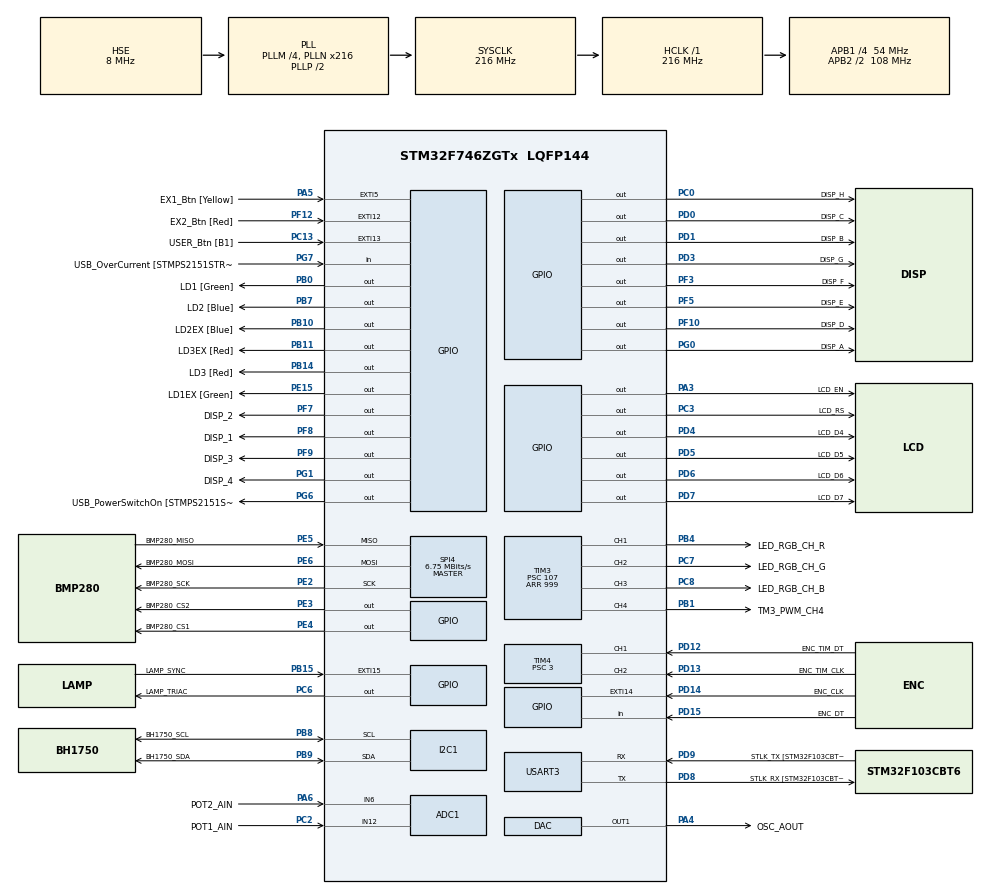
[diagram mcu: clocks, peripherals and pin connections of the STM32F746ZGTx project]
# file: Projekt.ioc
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ADC1.Channel-0\#ChannelRegularConversion=ADC_CHANNEL_12
ADC1.Channel-1\#ChannelRegularConversion=ADC_CHANNEL_6
ADC1.ClockPrescaler=ADC_CLOCK_SYNC_PCLK_DIV8
ADC1.ContinuousConvMode=DISABLE
ADC1.DMAContinuousRequests=ENABLE
ADC1.EOCSelection=ADC_EOC_SEQ_CONV
ADC1.InjNumberOfConversion=0
ADC1.NbrOfConversion=2
ADC1.NbrOfConversionFlag=1
ADC1.Rank-0\#ChannelRegularConversion=1
ADC1.Rank-1\#ChannelRegularConversion=2
ADC1.SamplingTime-0\#ChannelRegularConversion=ADC_SAMPLETIME_480CYCLES
ADC1.SamplingTime-1\#ChannelRegularConversion=ADC_SAMPLETIME_480CYCLES
ADC1.master=1
ARM.CMSIS.5.7.0.CMSISJjCORE=true
ARM.CMSIS.5.7.0.CMSISJjDSP=Library
DAC.DAC_Trigger=DAC_TRIGGER_NONE
Dma.ADC1.0.Direction=DMA_PERIPH_TO_MEMORY
Dma.ADC1.0.FIFOMode=DMA_FIFOMODE_DISABLE
Dma.ADC1.0.Instance=DMA2_Stream0
Dma.ADC1.0.MemDataAlignment=DMA_MDATAALIGN_HALFWORD
Dma.ADC1.0.MemInc=DMA_MINC_ENABLE
Dma.ADC1.0.Mode=DMA_CIRCULAR
Dma.ADC1.0.PeriphDataAlignment=DMA_PDATAALIGN_HALFWORD
Dma.ADC1.0.PeriphInc=DMA_PINC_DISABLE
Dma.ADC1.0.Priority=DMA_PRIORITY_LOW
Dma.DAC1.1.Direction=DMA_MEMORY_TO_PERIPH
Dma.DAC1.1.FIFOMode=DMA_FIFOMODE_DISABLE
Dma.DAC1.1.Instance=DMA1_Stream5
Dma.DAC1.1.MemDataAlignment=DMA_MDATAALIGN_HALFWORD
Dma.DAC1.1.MemInc=DMA_MINC_ENABLE
Dma.DAC1.1.Mode=DMA_CIRCULAR
Dma.DAC1.1.PeriphDataAlignment=DMA_PDATAALIGN_HALFWORD
Dma.DAC1.1.PeriphInc=DMA_PINC_DISABLE
Dma.DAC1.1.Priority=DMA_PRIORITY_HIGH
Dma.Request0=ADC1
Dma.Request1=DAC1
I2C1.Timing=0x20404768
Mcu.Family=STM32F7
Mcu.Name=STM32F746ZGTx
Mcu.Package=LQFP144
NVIC.DMA1_Stream5_IRQn=true\:0\:0\:false\:false\:true\:false\:true
NVIC.DMA2_Stream0_IRQn=true\:0\:0\:false\:false\:true\:false\:true
NVIC.EXTI15_10_IRQn=true\:0\:0\:false\:false\:true\:true\:true
NVIC.EXTI9_5_IRQn=true\:0\:0\:false\:false\:true\:true\:true
NVIC.PriorityGroup=NVIC_PRIORITYGROUP_4
NVIC.TIM2_IRQn=true\:0\:0\:false\:false\:true\:true\:true
NVIC.TIM6_DAC_IRQn=true\:0\:0\:false\:false\:true\:true\:true
NVIC.TIM7_IRQn=true\:0\:0\:false\:false\:true\:true\:true
NVIC.USART3_IRQn=true\:0\:0\:false\:false\:true\:true\:true
PA1.GPIO_Label=RMII_REF_CLK [LAN8742A-CZ-TR_REFCLK0]
PA1.Signal=ETH_REF_CLK
PA10.GPIO_Label=USB_ID
PA10.Signal=USB_OTG_FS_ID
PA11.GPIO_Label=USB_DM
PA11.Signal=USB_OTG_FS_DM
PA12.GPIO_Label=USB_DP
PA12.Signal=USB_OTG_FS_DP
PA13.GPIO_Label=TMS
PA13.Mode=Serial_Wire
PA13.Signal=SYS_JTMS-SWDIO
PA14.GPIO_Label=TCK
PA14.Mode=Serial_Wire
PA14.Signal=SYS_JTCK-SWCLK
PA2.GPIO_Label=RMII_MDIO [LAN8742A-CZ-TR_MDIO]
PA2.Signal=ETH_MDIO
PA3.GPIO_Label=LCD_EN
PA3.Signal=GPIO_Output
PA4.GPIO_Label=OSC_AOUT
PA4.Signal=COMP_DAC1_group
PA5.GPIO_Label=EX1_Btn [Yellow]
PA5.GPIO_ModeDefaultEXTI=GPIO_MODE_IT_FALLING
PA5.Signal=GPXTI5
PA6.GPIO_Label=POT2_AIN
PA6.Signal=ADCx_IN6
PA8.GPIO_Label=USB_SOF [TP1]
PA8.Signal=USB_OTG_FS_SOF
PA9.GPIO_Label=USB_VBUS
PA9.Signal=USB_OTG_FS_VBUS
PB0.GPIO_Label=LD1 [Green]
PB0.Signal=GPIO_Output
PB1.GPIO_Label=TM3_PWM_CH4
PB1.Signal=S_TIM3_CH4
PB10.GPIO_Label=LD2EX [Blue]
PB10.Signal=GPIO_Output
PB11.GPIO_Label=LD3EX [Red]
PB11.Signal=GPIO_Output
PB13.GPIO_Label=RMII_TXD1 [LAN8742A-CZ-TR_TXD1]
PB13.Signal=ETH_TXD1
PB14.GPIO_Label=LD3 [Red]
PB14.Signal=GPIO_Output
PB15.GPIO_Label=LAMP_SYNC
PB15.Signal=GPXTI15
PB3.GPIO_Label=SW0
PB3.Signal=SYS_JTDO-SWO
PB4.GPIO_Label=LED_RGB_CH_R
PB4.Signal=S_TIM3_CH1
PB7.GPIO_Label=LD2 [Blue]
PB7.Signal=GPIO_Output
PB8.GPIO_Label=BH1750_SCL
PB8.Mode=I2C
PB8.Signal=I2C1_SCL
PB9.GPIO_Label=BH1750_SDA
PB9.Mode=I2C
PB9.Signal=I2C1_SDA
PC0.GPIO_Label=DISP_H
PC0.GPIO_ModeDefaultOutputPP=GPIO_MODE_OUTPUT_OD
PC0.GPIO_PuPd=GPIO_PULLUP
PC0.Signal=GPIO_Output
PC1.GPIO_Label=RMII_MDC [LAN8742A-CZ-TR_MDC]
PC1.Signal=ETH_MDC
PC13.GPIO_Label=USER_Btn [B1]
PC13.Signal=GPXTI13
PC14/OSC32_IN.Mode=LSE-External-Oscillator
PC14/OSC32_IN.Signal=RCC_OSC32_IN
PC15/OSC32_OUT.Mode=LSE-External-Oscillator
PC15/OSC32_OUT.Signal=RCC_OSC32_OUT
PC2.GPIO_Label=POT1_AIN
PC2.Signal=ADCx_IN12
PC3.GPIO_Label=LCD_RS
PC3.Signal=GPIO_Output
PC4.GPIO_Label=RMII_RXD0 [LAN8742A-CZ-TR_RXD0]
PC4.Signal=ETH_RXD0
PC5.GPIO_Label=RMII_RXD1 [LAN8742A-CZ-TR_RXD1]
PC5.Signal=ETH_RXD1
PC6.GPIO_Label=LAMP_TRIAC
PC6.GPIO_Speed=GPIO_SPEED_FREQ_HIGH
PC6.Signal=GPIO_Output
PC7.GPIO_Label=LED_RGB_CH_G
PC7.Signal=S_TIM3_CH2
PC8.GPIO_Label=LED_RGB_CH_B
PC8.Signal=S_TIM3_CH3
PD0.GPIO_Label=DISP_C
PD0.GPIO_ModeDefaultOutputPP=GPIO_MODE_OUTPUT_OD
PD0.GPIO_PuPd=GPIO_PULLUP
PD0.Signal=GPIO_Output
PD1.GPIO_Label=DISP_B
PD1.GPIO_ModeDefaultOutputPP=GPIO_MODE_OUTPUT_OD
PD1.GPIO_PuPd=GPIO_PULLUP
PD1.Signal=GPIO_Output
PD12.GPIO_Label=ENC_TIM_DT
PD12.Signal=S_TIM4_CH1
PD13.GPIO_Label=ENC_TIM_CLK
PD13.Signal=S_TIM4_CH2
PD14.GPIO_Label=ENC_CLK
PD14.GPIO_ModeDefaultEXTI=GPIO_MODE_IT_FALLING
PD14.Signal=GPXTI14
PD15.GPIO_Label=ENC_DT
PD15.Signal=GPIO_Input
PD3.GPIO_Label=DISP_G
PD3.GPIO_ModeDefaultOutputPP=GPIO_MODE_OUTPUT_OD
PD3.GPIO_PuPd=GPIO_PULLUP
PD3.Signal=GPIO_Output
PD4.GPIO_Label=LCD_D4
PD4.Signal=GPIO_Output
PD5.GPIO_Label=LCD_D5
PD5.Signal=GPIO_Output
PD6.GPIO_Label=LCD_D6
PD6.Signal=GPIO_Output
PD7.GPIO_Label=LCD_D7
PD7.Signal=GPIO_Output
PD8.GPIO_Label=STLK_RX [STM32F103CBT6_PA3]
PD8.Mode=Asynchronous
PD8.Signal=USART3_TX
PD9.GPIO_Label=STLK_TX [STM32F103CBT6_PA2]
PD9.Mode=Asynchronous
PD9.Signal=USART3_RX
PE15.GPIO_Label=LD1EX [Green]
PE15.Signal=GPIO_Output
PE2.GPIO_Label=BMP280_SCK
PE2.Mode=Full_Duplex_Master
PE2.Signal=SPI4_SCK
PE3.GPIO_Label=BMP280_CS2
PE3.GPIO_Speed=GPIO_SPEED_FREQ_VERY_HIGH
PE3.PinState=GPIO_PIN_SET
PE3.Signal=GPIO_Output
PE4.GPIO_Label=BMP280_CS1
PE4.GPIO_Speed=GPIO_SPEED_FREQ_VERY_HIGH
PE4.PinState=GPIO_PIN_SET
PE4.Signal=GPIO_Output
PE5.GPIO_Label=BMP280_MISO
PE5.Mode=Full_Duplex_Master
PE5.Signal=SPI4_MISO
PE6.GPIO_Label=BMP280_MOSI
PE6.Mode=Full_Duplex_Master
PE6.Signal=SPI4_MOSI
PF10.GPIO_Label=DISP_D
PF10.GPIO_ModeDefaultOutputPP=GPIO_MODE_OUTPUT_OD
PF10.GPIO_PuPd=GPIO_PULLUP
PF10.Signal=GPIO_Output
PF12.GPIO_Label=EX2_Btn [Red]
PF12.Signal=GPXTI12
PF3.GPIO_Label=DISP_F
PF3.GPIO_ModeDefaultOutputPP=GPIO_MODE_OUTPUT_OD
PF3.GPIO_PuPd=GPIO_PULLUP
PF3.Signal=GPIO_Output
PF5.GPIO_Label=DISP_E
PF5.GPIO_ModeDefaultOutputPP=GPIO_MODE_OUTPUT_OD
PF5.GPIO_PuPd=GPIO_PULLUP
PF5.Signal=GPIO_Output
PF7.GPIO_Label=DISP_2
PF7.Signal=GPIO_Output
PF8.GPIO_Label=DISP_1
PF8.Signal=GPIO_Output
PF9.GPIO_Label=DISP_3
PF9.Signal=GPIO_Output
PG0.GPIO_Label=DISP_A
PG0.GPIO_ModeDefaultOutputPP=GPIO_MODE_OUTPUT_OD
PG0.GPIO_PuPd=GPIO_PULLUP
PG0.Signal=GPIO_Output
PG1.GPIO_Label=DISP_4
PG1.Signal=GPIO_Output
PG11.GPIO_Label=RMII_TX_EN [LAN8742A-CZ-TR_TXEN]
PG11.Signal=ETH_TX_EN
PG13.GPIO_Label=RMII_TXD0 [LAN8742A-CZ-TR_TXD0]
PG13.Signal=ETH_TXD0
PG6.GPIO_Label=USB_PowerSwitchOn [STMPS2151STR_EN]
PG6.Signal=GPIO_Output
PG7.GPIO_Label=USB_OverCurrent [STMPS2151STR_FAULT]
PG7.Signal=GPIO_Input
PH0/OSC_IN.GPIO_Label=MCO [STM32F103CBT6_PA8]
PH0/OSC_IN.Mode=HSE-External-Clock-Source
PH0/OSC_IN.Signal=RCC_OSC_IN
PH1/OSC_OUT.Mode=HSE-External-Clock-Source
PH1/OSC_OUT.Signal=RCC_OSC_OUT
ProjectManager.HeapSize=0x200
ProjectManager.StackSize=0x400
ProjectManager.TargetToolchain=STM32CubeIDE
RCC.48MHZClocksFreq_Value=24000000
RCC.AHBFreq_Value=216000000
RCC.APB1CLKDivider=RCC_HCLK_DIV4
RCC.APB1Freq_Value=54000000
RCC.APB1TimFreq_Value=108000000
RCC.APB2CLKDivider=RCC_HCLK_DIV2
RCC.APB2Freq_Value=108000000
RCC.APB2TimFreq_Value=216000000
RCC.CortexFreq_Value=216000000
RCC.HCLKFreq_Value=216000000
RCC.HSE_VALUE=8000000
RCC.HSI_VALUE=16000000
RCC.PLLM=4
RCC.PLLMUL=RCC_PLL_MUL9
RCC.PLLN=216
RCC.PLLQ=3
RCC.PLLSourceVirtual=RCC_PLLSOURCE_HSE
RCC.PRESCALERUSB=RCC_USBCLKSOURCE_PLL_DIV1_5
RCC.SYSCLKFreq_VALUE=216000000
RCC.SYSCLKSource=RCC_SYSCLKSOURCE_PLLCLK
RCC.SYSCLKSourceVirtual=RCC_SYSCLKSOURCE_PLLCLK
RCC.USBFreq_Value=144000000
RCC.VCOOutputFreq_Value=432000000
SH.ADCx_IN12.0=ADC1_IN12,IN12
SH.ADCx_IN6.0=ADC1_IN6,IN6
SH.COMP_DAC1_group.0=DAC_OUT1,DAC_OUT1
SH.S_TIM3_CH1.0=TIM3_CH1,PWM Generation1 CH1
SH.S_TIM3_CH2.0=TIM3_CH2,PWM Generation2 CH2
SH.S_TIM3_CH3.0=TIM3_CH3,PWM Generation3 CH3
SH.S_TIM3_CH4.0=TIM3_CH4,PWM Generation4 CH4
SH.S_TIM4_CH1.0=TIM4_CH1,Encoder_Interface
SH.S_TIM4_CH2.0=TIM4_CH2,Encoder_Interface
SPI4.BaudRatePrescaler=SPI_BAUDRATEPRESCALER_16
SPI4.CLKPhase=SPI_PHASE_2EDGE
SPI4.CLKPolarity=SPI_POLARITY_HIGH
SPI4.CalculateBaudRate=6.75 MBits/s
SPI4.DataSize=SPI_DATASIZE_8BIT
SPI4.Direction=SPI_DIRECTION_2LINES
SPI4.Mode=SPI_MODE_MASTER
SPI4.VirtualType=VM_MASTER
TIM2.Period=4999
TIM2.Prescaler=107
TIM3.Channel-PWM\ Generation1\ CH1=TIM_CHANNEL_1
TIM3.Channel-PWM\ Generation2\ CH2=TIM_CHANNEL_2
TIM3.Channel-PWM\ Generation3\ CH3=TIM_CHANNEL_3
TIM3.Channel-PWM\ Generation4\ CH4=TIM_CHANNEL_4
TIM3.Period=999
TIM3.Prescaler=107
TIM3.Pulse-PWM\ Generation2\ CH2=0
TIM3.Pulse-PWM\ Generation3\ CH3=0
TIM4.EncoderMode=TIM_ENCODERMODE_TI12
TIM4.IC1Polarity=TIM_ICPOLARITY_FALLING
TIM4.IC2Polarity=TIM_ICPOLARITY_FALLING
TIM4.Period=100
TIM4.Prescaler=3
TIM6.Period=999
TIM6.Prescaler=107
TIM6.TIM_MasterOutputTrigger=TIM_TRGO_UPDATE
TIM7.Period=999
TIM7.Prescaler=107
USART3.VirtualMode-Asynchronous=VM_ASYNC
VP_ARM.CMSIS_VS_CMSISJjCORE_5.4.0_5.7.0.Mode=CMSISJjCORE
VP_ARM.CMSIS_VS_CMSISJjDSP_1.8.0_5.7.0.Mode=CMSISJjDSP
VP_TIM2_VS_ClockSourceINT.Mode=Internal
VP_TIM2_VS_OPM.Mode=OPM_bit
VP_TIM3_VS_ClockSourceINT.Mode=Internal
VP_TIM6_VS_ClockSourceINT.Mode=Enable_Timer
VP_TIM7_VS_ClockSourceINT.Mode=Enable_Timer
board=NUCLEO-F746ZG

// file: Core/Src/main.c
/* USER CODE BEGIN Header */
/**
  ******************************************************************************
  * @file           : main.c
  * @brief          : Main program body
  ******************************************************************************
  * @attention
  *
  * <h2><center>&copy; Copyright (c) 2020 STMicroelectronics.
  * All rights reserved.</center></h2>
  *
  * This software component is licensed by ST under BSD 3-Clause license,
  * the "License"; You may not use this file except in compliance with the
  * License. You may obtain a copy of the License at:
  *                        opensource.org/licenses/BSD-3-Clause
  *
  ******************************************************************************
  */
/* USER CODE END Header */
#include "main.h"
#include "adc.h"
#include "dac.h"
#include "dma.h"
#include "i2c.h"
#include "spi.h"
#include "tim.h"
#include "usart.h"
#include "gpio.h"

/* USER CODE BEGIN Includes */
#include "bmp280.h"
#include "bmp280_defs.h"
#include "arm_math.h"
/* USER CODE END Includes */

/* USER CODE BEGIN PTD */
#define BMP280_SPI (&hspi4)

#define BMP280_CS1 1
#define BMP280_CS2 2
/* USER CODE END PTD */

/* USER CODE BEGIN PV */
char  rx_buffer [2];
float duty = 0; // Wypelnienie PWM
float inc = 20; //temperatura zadana

float K_P_CMSIS = 125; //400;
float K_I_CMSIS = 0.25; //0.5;
float K_D_CMSIS = 10; //20;
float pid_error;
float pid_error_abs;

/* USER CODE END PV */

void SystemClock_Config(void);
/* USER CODE BEGIN PFP */
int8_t bmp280_spi_reg_write (uint8_t cs, uint8_t reg_addr, uint8_t *reg_data, uint16_t length);
int8_t bmp280_spi_reg_read (uint8_t cs, uint8_t reg_addr, uint8_t *reg_data, uint16_t length);
/* USER CODE END PFP */

/* USER CODE BEGIN 0 */

void  HAL_UART_RxCpltCallback(UART_HandleTypeDef  *huart)
{
	HAL_UART_Receive_IT   (&huart3  , (uint8_t*) rx_buffer  , 2); //Zadawanie wypełnienia  PWM do tranzystora [0 3.3V]

	if (huart->Instance == USART3)
	{
		inc = (((float)rx_buffer [0] - 48)*10 +   ((float)rx_buffer [1] - 48));  //-48

	}
}

/* USER CODE END 0 */

int main(void)
{
  /* USER CODE BEGIN 1 */
struct bmp280_dev bmp280_1 = {
		.dev_id = BMP280_CS1,
		.intf = BMP280_SPI_INTF,
		.read = bmp280_spi_reg_read, .write = bmp280_spi_reg_write,
		.delay_ms = HAL_Delay
};

struct bmp280_uncomp_data bmp280_1_data;

int32_t temp32;
double temp;
  /* USER CODE END 1 */

  /* MCU Configuration--------------------------------------------------------*/

  /* Reset of all peripherals, Initializes the Flash interface and the Systick. */
  HAL_Init();

  /* Configure the system clock */
  SystemClock_Config();

  /* Initialize all configured peripherals */
  MX_GPIO_Init();
  MX_DMA_Init();
  MX_USART3_UART_Init();
  MX_TIM2_Init();
  MX_TIM3_Init();
  MX_TIM4_Init();
  MX_I2C1_Init();
  MX_SPI4_Init();
  MX_ADC1_Init();
  MX_DAC_Init();
  MX_TIM6_Init();
  MX_TIM7_Init();
  /* USER CODE BEGIN 2 */

  HAL_UART_Receive_IT   (&huart3  , (uint8_t*) rx_buffer  , 2);

  HAL_StatusTypeDef tx_status = HAL_OK;

  HAL_TIM_Base_Init(&htim3); // Inicjalizacja timera 3 odpowiedzialnego za PWM

  //Initialize BMP280 sensor
  int8_t rslt;
  struct bmp280_config conf;

  rslt = bmp280_init(&bmp280_1);
  /* Always read the current settings before writing, especially when all the configuration is not modified */
  rslt = bmp280_get_config(&conf, &bmp280_1);
  conf.filter = BMP280_FILTER_OFF;
  /* Temperature oversampling set at 4x */
  conf.os_temp = BMP280_OS_1X;

  /* Setting the output data rate as 4HZ(250ms) */
  conf.odr = BMP280_ODR_1000_MS;

  rslt = bmp280_set_config(&conf, &bmp280_1);

  rslt = bmp280_set_power_mode(BMP280_NORMAL_MODE, &bmp280_1);

  char str[4];

 // HAL_TIM_Base_Start(&htim3);
  //__HAL_TIM_SET_AUTORELOAD  (&htim3  , 999);

  HAL_TIM_PWM_Start(&htim3, TIM_CHANNEL_4); // Start PWM

  arm_pid_instance_f32 PID;

  PID.Kp = K_P_CMSIS;
  PID.Ki = K_I_CMSIS;
  PID.Kd = K_D_CMSIS;

  arm_pid_init_f32(&PID, 1); //Inicjalizacja PID
  /* USER CODE END 2 */

  /* Infinite loop */
  /* USER CODE BEGIN WHILE */
  while (1)
  {
	  //Read BMP280 sensor
      /* Reading the raw data from sensor */
      rslt = bmp280_get_uncomp_data(&bmp280_1_data, &bmp280_1);

      /* Getting the 32 bit compensated temperature */
      rslt = bmp280_get_comp_temp_32bit(&temp32, bmp280_1_data.uncomp_temp, &bmp280_1);

      /* Getting the compensated temperature as floating point value */
      rslt = bmp280_get_comp_temp_double(&temp, bmp280_1_data.uncomp_temp, &bmp280_1);

      /* Sleep time between measurements = BMP280_ODR_250_MS */
       bmp280_1.delay_ms(1000);

       pid_error = inc - temp; //blad

       duty = arm_pid_f32(&PID, pid_error); //wypelnienie PWM

       if (duty > 1000)
       	   {
    	   	   duty = 1000;
           }
       else if (duty < 0)
       	   {
               duty = 0;
       	   }

	   __HAL_TIM_SET_COMPARE(&htim3,TIM_CHANNEL_4,duty); //zalacz grzalke

       sprintf(str, "%f", temp);

       tx_status = HAL_UART_Transmit(&huart3,(uint8_t*) str, 5, 100); // Wyslanie temperatury
      //HAL_Delay(1000); //czas odczytu

    /* USER CODE END WHILE */

  }
}

void SystemClock_Config(void)
{
  RCC_OscInitTypeDef RCC_OscInitStruct = {0};
  RCC_ClkInitTypeDef RCC_ClkInitStruct = {0};
  RCC_PeriphCLKInitTypeDef PeriphClkInitStruct = {0};

  /** Configure LSE Drive Capability
  */
  HAL_PWR_EnableBkUpAccess();
  /** Configure the main internal regulator output voltage
  */
  __HAL_RCC_PWR_CLK_ENABLE();
  __HAL_PWR_VOLTAGESCALING_CONFIG(PWR_REGULATOR_VOLTAGE_SCALE1);
  /** Initializes the RCC Oscillators according to the specified parameters
  * in the RCC_OscInitTypeDef structure.
  */
  RCC_OscInitStruct.OscillatorType = RCC_OSCILLATORTYPE_HSE;
  RCC_OscInitStruct.HSEState = RCC_HSE_BYPASS;
  RCC_OscInitStruct.PLL.PLLState = RCC_PLL_ON;
  RCC_OscInitStruct.PLL.PLLSource = RCC_PLLSOURCE_HSE;
  RCC_OscInitStruct.PLL.PLLM = 4;
  RCC_OscInitStruct.PLL.PLLN = 216;
  RCC_OscInitStruct.PLL.PLLP = RCC_PLLP_DIV2;
  RCC_OscInitStruct.PLL.PLLQ = 3;
  if (HAL_RCC_OscConfig(&RCC_OscInitStruct) != HAL_OK)
  {
    Error_Handler();
  }
  /** Activate the Over-Drive mode
  */
  if (HAL_PWREx_EnableOverDrive() != HAL_OK)
  {
    Error_Handler();
  }
  /** Initializes the CPU, AHB and APB buses clocks
  */
  RCC_ClkInitStruct.ClockType = RCC_CLOCKTYPE_HCLK|RCC_CLOCKTYPE_SYSCLK
                              |RCC_CLOCKTYPE_PCLK1|RCC_CLOCKTYPE_PCLK2;
  RCC_ClkInitStruct.SYSCLKSource = RCC_SYSCLKSOURCE_PLLCLK;
  RCC_ClkInitStruct.AHBCLKDivider = RCC_SYSCLK_DIV1;
  RCC_ClkInitStruct.APB1CLKDivider = RCC_HCLK_DIV4;
  RCC_ClkInitStruct.APB2CLKDivider = RCC_HCLK_DIV2;

  if (HAL_RCC_ClockConfig(&RCC_ClkInitStruct, FLASH_LATENCY_7) != HAL_OK)
  {
    Error_Handler();
  }
  PeriphClkInitStruct.PeriphClockSelection = RCC_PERIPHCLK_USART3|RCC_PERIPHCLK_I2C1;
  PeriphClkInitStruct.Usart3ClockSelection = RCC_USART3CLKSOURCE_PCLK1;
  PeriphClkInitStruct.I2c1ClockSelection = RCC_I2C1CLKSOURCE_PCLK1;
  if (HAL_RCCEx_PeriphCLKConfig(&PeriphClkInitStruct) != HAL_OK)
  {
    Error_Handler();
  }
}

/* USER CODE BEGIN 4 */
#define BMP280_SPI_BUFFER_LEN 28
#define BMP280_DATA_INDEX     1

/*!
 * @brief Function for writing the sensor 's registers through SPI bus.
 *
 * @param [in] cs : Chip select to enable the sensor .
 * @param [in] reg_addr : Register address .
 * @param [in] reg_data : Pointer to the data buffer whose data has to be written
 * @param [in] length : No of bytes to write .
 *
 * @return Status of execution
 * @retval 0 -> Success
 * @retval >0 -> Failure Info
 *
 */
 int8_t bmp280_spi_reg_write ( uint8_t cs , uint8_t reg_addr , uint8_t * reg_data , uint16_t length )
 {
 /* Implement the SPI write routine according to the target machine . */
 HAL_StatusTypeDef status = HAL_OK ;
 int32_t iError = BMP280_OK ;
 uint8_t txarray [ BMP280_SPI_BUFFER_LEN ];
 uint8_t stringpos ;

 /* Copy register address and data to tx buffer */
 txarray [0] = reg_addr ;
 for ( stringpos = 0; stringpos < length ; stringpos ++)
 {
 txarray [ stringpos + BMP280_DATA_INDEX ] = reg_data [ stringpos ];
 }
 // memcpy ( txarray + BMP280_DATA_INDEX , reg_data , length );

 /* Software slave selection procedure */
 if( cs == BMP280_CS1 )
 HAL_GPIO_WritePin ( BMP280_CS1_GPIO_Port , BMP280_CS1_Pin , GPIO_PIN_RESET ) ;

 /* Data exchange */
 status = HAL_SPI_Transmit ( BMP280_SPI , ( uint8_t *) (& txarray ) , length +1 , 100) ;
 while ( BMP280_SPI->State == HAL_SPI_STATE_BUSY ) {};

 /* Disable all slaves */
 HAL_GPIO_WritePin ( BMP280_CS1_GPIO_Port , BMP280_CS1_Pin , GPIO_PIN_SET ) ;

 if ( status != HAL_OK )
 {
 // The BMP280 API calls for 0 return value as a success , and -1 returned as failure
 iError = ( -1) ;
 }
 return ( int8_t ) iError ;
 }

 int8_t bmp280_spi_reg_read ( uint8_t cs , uint8_t reg_addr , uint8_t * reg_data , uint16_t length )
 {
 /* Implement the SPI read routine according to the target machine . */
 HAL_StatusTypeDef status = HAL_OK ;
 int32_t iError = BMP280_OK ;
 uint8_t txarray [ BMP280_SPI_BUFFER_LEN ] = {0 ,};
 uint8_t rxarray [ BMP280_SPI_BUFFER_LEN ] = {0 ,};
 uint8_t stringpos ;

 txarray [0] = reg_addr ;

 /* Software slave selection procedure */
 if( cs == BMP280_CS1 )
 HAL_GPIO_WritePin ( BMP280_CS1_GPIO_Port , BMP280_CS1_Pin , GPIO_PIN_RESET ) ;

 /* Data exchange */
 status = HAL_SPI_TransmitReceive ( BMP280_SPI , ( uint8_t *) (& txarray ) , ( uint8_t *) (&rxarray ) , length +1 , 5) ;
 while ( BMP280_SPI-> State == HAL_SPI_STATE_BUSY ) {};

 /* Disable all slaves */
 HAL_GPIO_WritePin ( BMP280_CS1_GPIO_Port , BMP280_CS1_Pin , GPIO_PIN_SET ) ;

 /* Copy data from rx buffer */
 for ( stringpos = 0; stringpos < length ; stringpos ++)
 {
 reg_data [ stringpos ] = rxarray [ stringpos + BMP280_DATA_INDEX ];
 }
 // memcpy ( reg_data , rxarray + BMP280_DATA_INDEX , length );

 if ( status != HAL_OK )
 {
 // The BME280 API calls for 0 return value as a success , and -1 returned as failure
 iError = ( -1) ;
 }

 return ( int8_t ) iError ;
 }

/* USER CODE END 4 */

void Error_Handler(void)
{
}

/************************ (C) COPYRIGHT STMicroelectronics *****END OF FILE****/
